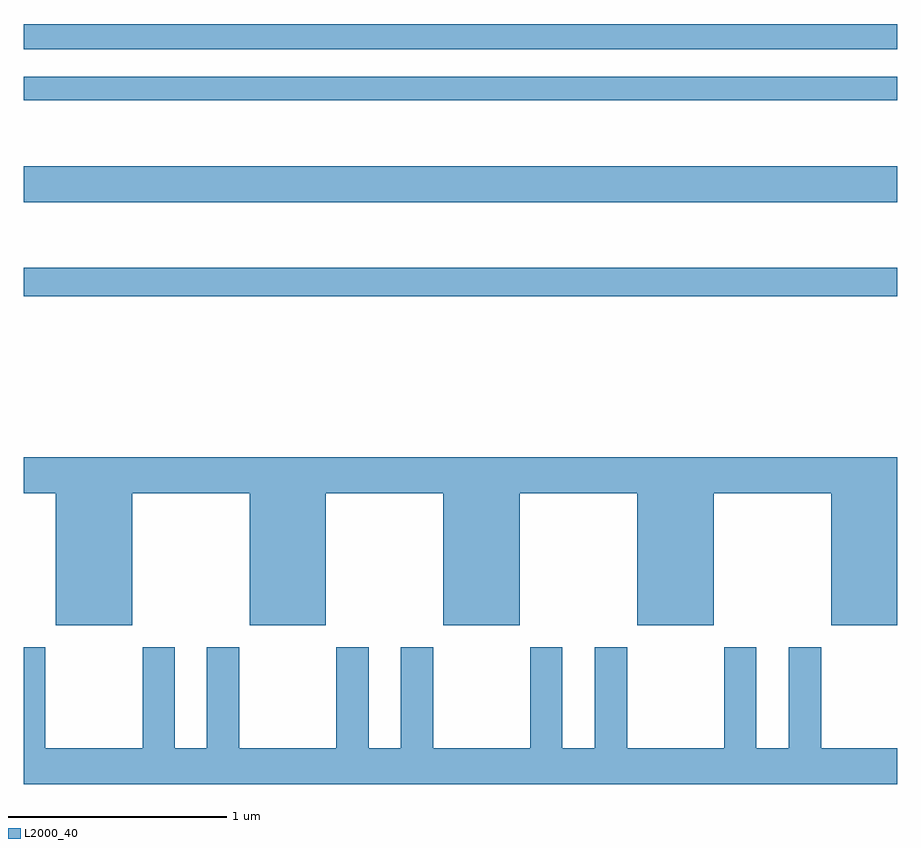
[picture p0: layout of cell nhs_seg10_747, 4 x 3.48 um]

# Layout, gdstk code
import gdstk
lib = gdstk.Library(unit=1e-6, precision=1e-09)
def R(c, l, rs):  # rectangles x0, y0, x1, y1
    for r in rs: c.add(gdstk.rectangle(r[:2], r[2:], *l))
def P(c, l, *ps):  # polygons
    for p in ps: c.add(gdstk.Polygon(p, *l))
L2000_40 = (2000, 40)

nhs_seg10_747 = lib.new_cell('nhs_seg10_747')
R(nhs_seg10_747, L2000_40, [(147,1329.19,151,1329.319), (147,1329.62,151,1329.784), (147,1330.086,151,1330.194), (147,1330.32,151,1330.436)])
P(nhs_seg10_747, L2000_40, [(147,1328.288),(147.146,1328.288),(147.146,1327.682),(147.496,1327.682),(147.496,1328.288),(148.034,1328.288),(148.034,1327.682),(148.384,1327.682),(148.384,1328.288),(148.922,1328.288),(148.922,1327.682),(149.272,1327.682),(149.272,1328.288),(149.81,1328.288),(149.81,1327.682),(150.16,1327.682),(150.16,1328.288),(150.698,1328.288),(150.698,1327.682),(151,1327.682),(151,1328.452),(147,1328.452)],
  [(150.208,1327.582),(150.208,1327.12),(149.763,1327.12),(149.763,1327.582),(149.615,1327.582),(149.615,1327.12),(149.467,1327.12),(149.467,1327.582),(149.32,1327.582),(149.32,1327.12),(148.875,1327.12),(148.875,1327.582),(148.727,1327.582),(148.727,1327.12),(148.579,1327.12),(148.579,1327.582),(148.432,1327.582),(148.432,1327.12),(147.987,1327.12),(147.987,1327.582),(147.839,1327.582),(147.839,1327.12),(147.691,1327.12),(147.691,1327.582),(147.544,1327.582),(147.544,1327.12),(147.099,1327.12),(147.099,1327.582),(147,1327.582),(147,1326.956),(151,1326.956),(151,1327.12),(150.651,1327.12),(150.651,1327.582),(150.503,1327.582),(150.503,1327.12),(150.355,1327.12),(150.355,1327.582)])

lib.write_gds('nhs_seg10_747.gds')
